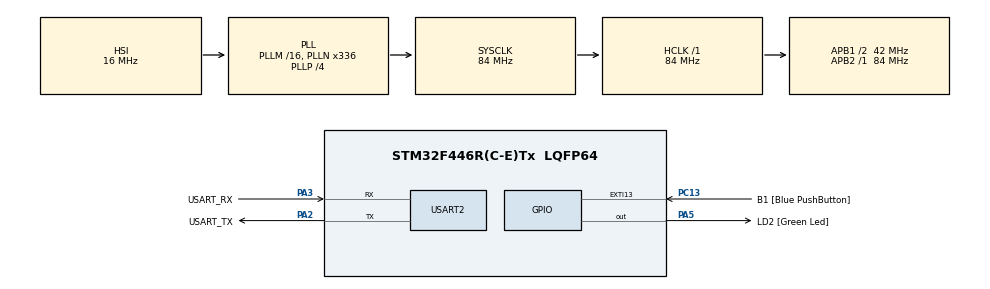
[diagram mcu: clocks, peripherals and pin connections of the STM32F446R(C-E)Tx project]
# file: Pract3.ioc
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Mcu.Family=STM32F4
Mcu.Name=STM32F446R(C-E)Tx
Mcu.Package=LQFP64
NVIC.EXTI15_10_IRQn=true\:0\:0\:false\:false\:true\:true\:true\:true
NVIC.PriorityGroup=NVIC_PRIORITYGROUP_0
PA13.GPIO_Label=TMS
PA13.Mode=Serial_Wire
PA13.Signal=SYS_JTMS-SWDIO
PA14.GPIO_Label=TCK
PA14.Mode=Serial_Wire
PA14.Signal=SYS_JTCK-SWCLK
PA2.GPIO_Label=USART_TX
PA2.Mode=Asynchronous
PA2.Signal=USART2_TX
PA3.GPIO_Label=USART_RX
PA3.Mode=Asynchronous
PA3.Signal=USART2_RX
PA5.GPIO_Label=LD2 [Green Led]
PA5.Signal=GPIO_Output
PB3.GPIO_Label=SWO
PB3.Signal=SYS_JTDO-SWO
PC13.GPIO_Label=B1 [Blue PushButton]
PC13.GPIO_ModeDefaultEXTI=GPIO_MODE_IT_FALLING
PC13.Signal=GPXTI13
PC14-OSC32_IN.Mode=LSE-External-Oscillator
PC14-OSC32_IN.Signal=RCC_OSC32_IN
PC15-OSC32_OUT.Mode=LSE-External-Oscillator
PC15-OSC32_OUT.Signal=RCC_OSC32_OUT
PH0-OSC_IN.Mode=HSE-External-Oscillator
PH0-OSC_IN.Signal=RCC_OSC_IN
PH1-OSC_OUT.Mode=HSE-External-Oscillator
PH1-OSC_OUT.Signal=RCC_OSC_OUT
ProjectManager.HeapSize=0x200
ProjectManager.StackSize=0x400
ProjectManager.TargetToolchain=STM32CubeIDE
RCC.48MHZClocksFreq_Value=84000000
RCC.AHBFreq_Value=84000000
RCC.APB1CLKDivider=RCC_HCLK_DIV2
RCC.APB1Freq_Value=42000000
RCC.APB1TimFreq_Value=84000000
RCC.APB2Freq_Value=84000000
RCC.APB2TimFreq_Value=84000000
RCC.CortexFreq_Value=84000000
RCC.FLatency-AdvancedSettings=FLASH_LATENCY_2
RCC.HCLKFreq_Value=84000000
RCC.HSE_VALUE=8000000
RCC.HSI_VALUE=16000000
RCC.PLLN=336
RCC.PLLP=RCC_PLLP_DIV4
RCC.SYSCLKFreq_VALUE=84000000
RCC.SYSCLKSource=RCC_SYSCLKSOURCE_PLLCLK
RCC.USBFreq_Value=168000000
RCC.VCOOutputFreq_Value=336000000
USART2.VirtualMode=VM_ASYNC
board=NUCLEO-F446RE

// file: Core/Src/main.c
/* USER CODE BEGIN Header */
/**
  ******************************************************************************
  * @file           : main.c
  * @brief          : Main program body
  ******************************************************************************
  * @attention
  *
  * Copyright (c) 2026 STMicroelectronics.
  * All rights reserved.
  *
  * This software is licensed under terms that can be found in the LICENSE file
  * in the root directory of this software component.
  * If no LICENSE file comes with this software, it is provided AS-IS.
  *
  ******************************************************************************
  */
/* USER CODE END Header */
#include "main.h"
#include "usart.h"
#include "gpio.h"
#include "API_delay.h"

/* USER CODE BEGIN PV */
//Secuencia
uint8_t indice=0;
uint8_t contadorCiclo=0; //Debido a duty cycle de 50%
delay_t ledDelay;
const uint32_t TIEMPOS[] = {500, 100, 100, 1000};
#define ARRAY_SIZE (sizeof(TIEMPOS) / sizeof(TIEMPOS[0]))

/* USER CODE END PV */

void SystemClock_Config(void);

int main(void)
{

  /* MCU Configuration--------------------------------------------------------*/

  /* Reset of all peripherals, Initializes the Flash interface and the Systick. */
  HAL_Init();

  /* Configure the system clock */
  SystemClock_Config();

  /* Initialize all configured peripherals */
  MX_GPIO_Init();
  MX_USART2_UART_Init();
  /* USER CODE BEGIN 2 */
  //Delay inicia con el primer valor del vector TIEMPOS
  delayInit(&ledDelay,TIEMPOS[indice]);
  /* USER CODE END 2 */

  /* Infinite loop */
  while (1)
  {

    /* USER CODE BEGIN 3 */

	  if(delayRead(&ledDelay)){
	 		  HAL_GPIO_TogglePin(LD2_GPIO_Port, LD2_Pin);
	 		  contadorCiclo++;

	 		  if(contadorCiclo>=2){
	 			  //contador de ciclos se reinicia y se avanza al siguiente tiempo en el indice
	 			  contadorCiclo=0;
	 			  indice++;

	 			  if(indice >= ARRAY_SIZE){
	 				  indice=0;
	 			  }

	 		  }

	 		  if(!delayIsRunning(&ledDelay)){delayWrite(&ledDelay, TIEMPOS[indice]);}

	 		  }
	 	  }
}

  /* USER CODE END 3 */

void SystemClock_Config(void)
{
  RCC_OscInitTypeDef RCC_OscInitStruct = {0};
  RCC_ClkInitTypeDef RCC_ClkInitStruct = {0};

  /** Configure the main internal regulator output voltage
  */
  __HAL_RCC_PWR_CLK_ENABLE();
  __HAL_PWR_VOLTAGESCALING_CONFIG(PWR_REGULATOR_VOLTAGE_SCALE3);

  /** Initializes the RCC Oscillators according to the specified parameters
  * in the RCC_OscInitTypeDef structure.
  */
  RCC_OscInitStruct.OscillatorType = RCC_OSCILLATORTYPE_HSI;
  RCC_OscInitStruct.HSIState = RCC_HSI_ON;
  RCC_OscInitStruct.HSICalibrationValue = RCC_HSICALIBRATION_DEFAULT;
  RCC_OscInitStruct.PLL.PLLState = RCC_PLL_ON;
  RCC_OscInitStruct.PLL.PLLSource = RCC_PLLSOURCE_HSI;
  RCC_OscInitStruct.PLL.PLLM = 16;
  RCC_OscInitStruct.PLL.PLLN = 336;
  RCC_OscInitStruct.PLL.PLLP = RCC_PLLP_DIV4;
  RCC_OscInitStruct.PLL.PLLQ = 2;
  RCC_OscInitStruct.PLL.PLLR = 2;
  if (HAL_RCC_OscConfig(&RCC_OscInitStruct) != HAL_OK)
  {
    Error_Handler();
  }

  /** Initializes the CPU, AHB and APB buses clocks
  */
  RCC_ClkInitStruct.ClockType = RCC_CLOCKTYPE_HCLK|RCC_CLOCKTYPE_SYSCLK
                              |RCC_CLOCKTYPE_PCLK1|RCC_CLOCKTYPE_PCLK2;
  RCC_ClkInitStruct.SYSCLKSource = RCC_SYSCLKSOURCE_PLLCLK;
  RCC_ClkInitStruct.AHBCLKDivider = RCC_SYSCLK_DIV1;
  RCC_ClkInitStruct.APB1CLKDivider = RCC_HCLK_DIV2;
  RCC_ClkInitStruct.APB2CLKDivider = RCC_HCLK_DIV1;

  if (HAL_RCC_ClockConfig(&RCC_ClkInitStruct, FLASH_LATENCY_2) != HAL_OK)
  {
    Error_Handler();
  }
}

void Error_Handler(void)
{
  __disable_irq();
  while (1)
  {
  }
}
